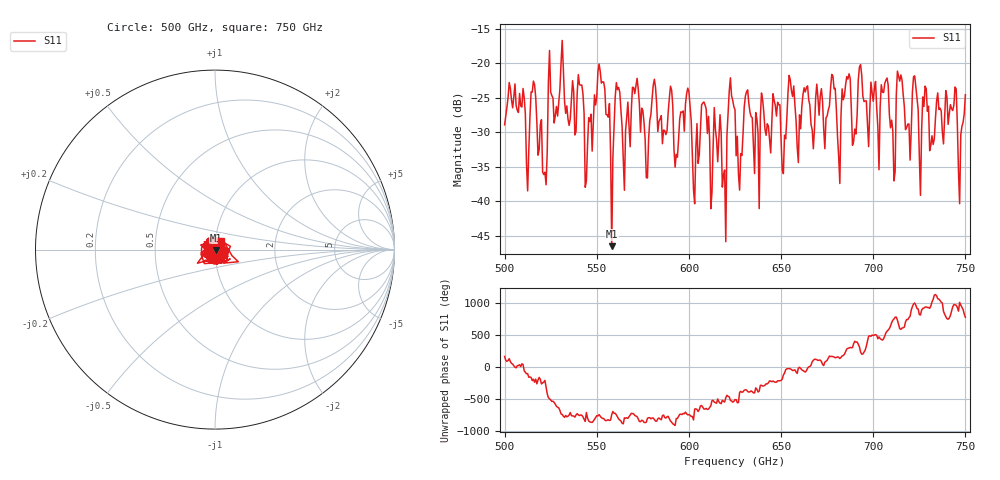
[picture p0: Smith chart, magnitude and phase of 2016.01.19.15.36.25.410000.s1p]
!Created with skrf (http://scikit-rf.org).
# GHz S RI R 50.0
!freq ReS11 ImS11
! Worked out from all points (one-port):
!   401 points, 500 GHz to 750 GHz, reference 50 ohm
!   lowest |S11| = -46.5 dB at 558.1 GHz (marker M1), VSWR 1.01, Z = 50.4 - j0.225 ohm
!   |S11| at or under -10 dB: start of sweep to end of sweep
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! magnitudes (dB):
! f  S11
! 500 GHz  -28.9
! 512.5 GHz  -38.5
! 515.6 GHz  -22.6
! 521.9 GHz  -35.8
! 525 GHz  -24.2
! 531.2 GHz  -16.7
! 545 GHz  -31.8
! 551.9 GHz  -21.2
! 558.1 GHz  -46.5
! 562.5 GHz  -24.2
! 593.8 GHz  -33.6
! 599.4 GHz  -23.6
! 603.8 GHz  -32.4
! 608.1 GHz  -25.6
! 619.4 GHz  -35.5
! 622.5 GHz  -22.1
! 625 GHz  -26.7
! 651.2 GHz  -36.0
! 656.2 GHz  -24.8
! 687.5 GHz  -22.2
! 706.9 GHz  -22.5
! 710.6 GHz  -29.8
! 714.4 GHz  -22.6
! 718.8 GHz  -28.8
! 722.5 GHz  -21.8
! 725 GHz  -33.4
! 747.5 GHz  -30.4
! 750 GHz  -24.6
